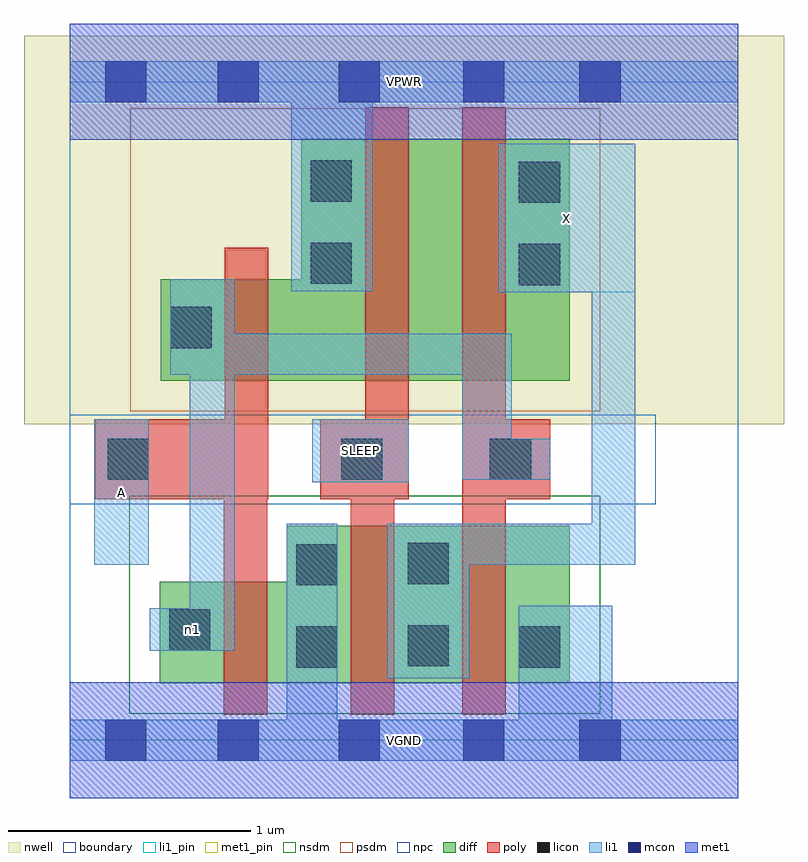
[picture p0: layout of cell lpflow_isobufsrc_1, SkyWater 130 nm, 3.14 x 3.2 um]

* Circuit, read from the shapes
.subckt lpflow_isobufsrc_1 A SLEEP VGND VPWR X n1
XM1 VGND A n1 VSUBS sky130_fd_pr__nfet_01v8 w=0.42 l=0.18
XM2 X SLEEP VGND VSUBS sky130_fd_pr__nfet_01v8 w=0.65 l=0.18
XM3 VGND n1 X VSUBS sky130_fd_pr__nfet_01v8 w=0.65 l=0.18
XM4 VPWR A n1 n2 sky130_fd_pr__pfet_01v8 w=0.42 l=0.18
XM5 n3 SLEEP VPWR n2 sky130_fd_pr__pfet_01v8 w=1 l=0.18
XM6 X n1 n3 n2 sky130_fd_pr__pfet_01v8 w=1 l=0.18
.ends

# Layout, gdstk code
import gdstk
lib = gdstk.Library(unit=1e-6, precision=1e-09)
def R(c, l, rs):  # rectangles x0, y0, x1, y1
    for r in rs: c.add(gdstk.rectangle(r[:2], r[2:], *l))
nwell = (64, 20)
diff = (65, 20)
poly = (66, 20)
licon = (66, 44)
li1_pin = (67, 16)
li1 = (67, 20)
mcon = (67, 44)
met1_pin = (68, 16)
met1 = (68, 20)
nsdm = (93, 44)
psdm = (94, 20)
npc = (95, 20)
boundary = (235, 4)

lpflow_isobufsrc_1 = lib.new_cell('lpflow_isobufsrc_1')
R(lpflow_isobufsrc_1, nwell, [(-0.19,1.305,2.95,2.91), (0,1.305,2.76,2.91)])
R(lpflow_isobufsrc_1, diff, [(0.37,0.235,2.065,0.655), (0.895,0.235,2.065,0.885), (0.375,1.485,2.065,1.905), (0.955,1.485,2.065,2.485)])
R(lpflow_isobufsrc_1, poly, [(0.635,0.105,0.815,1.325), (1.16,0.105,1.34,1.325), (1.62,0.105,1.8,2.615), (0.105,0.995,0.82,1.325), (0.64,0.995,0.82,2.035), (1.035,0.995,1.4,1.325), (1.22,0.995,1.4,2.615), (1.62,0.995,1.985,1.325)])
R(lpflow_isobufsrc_1, licon, [(0.935,0.3,1.105,0.47), (1.855,0.3,2.025,0.47), (1.395,0.305,1.565,0.475), (0.41,0.37,0.58,0.54), (0.935,0.64,1.105,0.81), (1.395,0.645,1.565,0.815), (0.155,1.075,0.325,1.245), (1.12,1.075,1.29,1.245), (1.735,1.075,1.905,1.245), (0.415,1.62,0.585,1.79), (1.855,1.88,2.025,2.05), (0.995,1.885,1.165,2.055), (1.855,2.22,2.025,2.39), (0.995,2.225,1.165,2.395)])
R(lpflow_isobufsrc_1, li1_pin, [(0.1,0.725,0.325,1.325), (1,1.065,1.4,1.325), (1.77,1.85,2.335,2.465)])
R(lpflow_isobufsrc_1, li1, [(0,-0.085,2.76,0.085), (0.895,-0.085,1.105,0.895), (1.855,-0.085,2.24,0.555), (1.31,0.255,1.65,0.895), (0.33,0.37,0.68,0.545), (0.495,0.37,0.68,1.905), (0.1,0.725,0.325,1.325), (1.31,0.725,2.335,0.895), (2.155,0.725,2.335,2.465), (1,1.065,1.4,1.325), (1.62,1.075,1.825,1.68), (1.62,1.075,1.985,1.245), (0.415,1.51,1.825,1.68), (0.415,1.51,0.68,1.905), (1.77,1.85,2.335,2.465), (0.915,1.855,1.25,2.805), (0,2.635,2.76,2.805)])
R(lpflow_isobufsrc_1, mcon, [(0.145,-0.085,0.315,0.085), (0.61,-0.085,0.78,0.085), (1.11,-0.085,1.28,0.085), (1.625,-0.085,1.795,0.085), (2.105,-0.085,2.275,0.085), (0.145,2.635,0.315,2.805), (0.61,2.635,0.78,2.805), (1.11,2.635,1.28,2.805), (1.625,2.635,1.795,2.805), (2.105,2.635,2.275,2.805)])
R(lpflow_isobufsrc_1, met1_pin, [(0,-0.24,2.76,0.24), (0,2.48,2.76,2.96)])
R(lpflow_isobufsrc_1, met1, [(0,-0.24,2.76,0.24), (0,2.48,2.76,2.96)])
R(lpflow_isobufsrc_1, nsdm, [(0.245,0.11,2.19,1.01)])
R(lpflow_isobufsrc_1, psdm, [(0.25,1.36,2.19,2.61)])
R(lpflow_isobufsrc_1, npc, [(0,0.975,2.42,1.345)])
R(lpflow_isobufsrc_1, boundary, [(0,0,2.76,2.72)])
lpflow_isobufsrc_1.add(gdstk.Label('A', (0.212,1.025), layer=67, texttype=5))
lpflow_isobufsrc_1.add(gdstk.Label('SLEEP', (1.2,1.195), layer=67, texttype=5))
lpflow_isobufsrc_1.add(gdstk.Label('X', (2.052,2.157), layer=67, texttype=5))
lpflow_isobufsrc_1.add(gdstk.Label('n1', (0.505,0.457), layer=67, texttype=5))
lpflow_isobufsrc_1.add(gdstk.Label('VPWR', (1.38,2.72), layer=68, texttype=5))
lpflow_isobufsrc_1.add(gdstk.Label('VGND', (1.38,0), layer=68, texttype=5))
lpflow_isobufsrc_1.add(gdstk.Label('A', (0.212,1.025), layer=67, texttype=16))
lpflow_isobufsrc_1.add(gdstk.Label('SLEEP', (1.2,1.195), layer=67, texttype=16))
lpflow_isobufsrc_1.add(gdstk.Label('X', (2.052,2.157), layer=67, texttype=16))
lpflow_isobufsrc_1.add(gdstk.Label('VPWR', (1.38,2.72), layer=68, texttype=16))
lpflow_isobufsrc_1.add(gdstk.Label('VGND', (1.38,0), layer=68, texttype=16))

lib.write_gds('lpflow_isobufsrc_1.gds')
